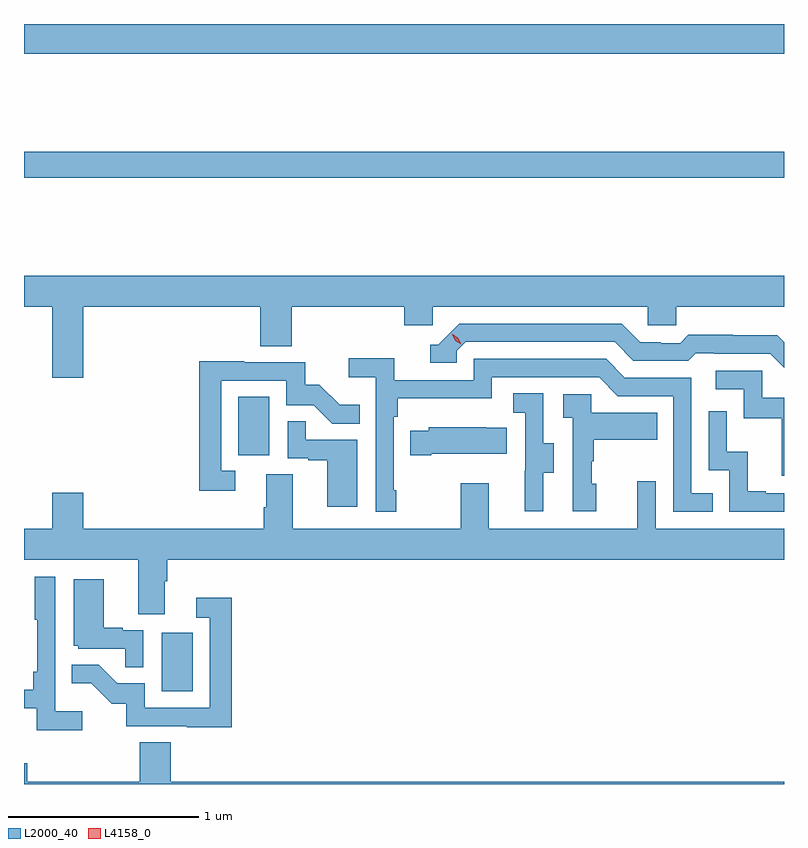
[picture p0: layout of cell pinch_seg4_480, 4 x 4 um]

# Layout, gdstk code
import gdstk
lib = gdstk.Library(unit=1e-6, precision=1e-09)
def R(c, l, rs):  # rectangles x0, y0, x1, y1
    for r in rs: c.add(gdstk.rectangle(r[:2], r[2:], *l))
def P(c, l, *ps):  # polygons
    for p in ps: c.add(gdstk.Polygon(p, *l))
L2000_40 = (2000, 40)
L4158_0 = (4158, 0)

pinch_seg4_480 = lib.new_cell('pinch_seg4_480')
R(pinch_seg4_480, L2000_40, [(896.852,752.172,897.016,752.479), (897.254,753.414,897.418,753.721), (896.127,754.876,900.127,755.012), (896.127,755.528,900.127,755.684)])
P(pinch_seg4_480, L2000_40, [(896.44,754.196),(897.371,754.196),(897.371,753.988),(897.536,753.988),(897.536,754.196),(898.127,754.196),(898.127,754.098),(898.278,754.098),(898.278,754.196),(899.409,754.196),(899.409,754.098),(899.559,754.098),(899.559,754.196),(900.127,754.196),(900.127,754.36),(896.127,754.36),(896.127,754.196),(896.276,754.196),(896.276,753.822),(896.44,753.822)],
  [(900.127,754.01),(900.092,754.045),(899.856,754.045),(899.856,754.048),(899.623,754.048),(899.581,754.005),(899.478,754.005),(899.478,754.008),(899.371,754.008),(899.272,754.107),(898.419,754.107),(898.308,753.996),(898.265,753.996),(898.265,753.9),(898.404,753.9),(898.404,753.963),(898.452,754.011),(899.235,754.011),(899.334,753.912),(899.623,753.912),(899.662,753.951),(899.761,753.951),(899.761,753.948),(900.054,753.948),(900.127,753.875)],
  [(898.087,753.229),(898.074,753.229),(898.074,753.617),(898.094,753.617),(898.094,753.713),(898.59,753.713),(898.59,753.825),(899.154,753.825),(899.253,753.726),(899.544,753.726),(899.544,753.117),(899.753,753.117),(899.753,753.213),(899.64,753.213),(899.64,753.822),(899.29,753.822),(899.191,753.921),(898.494,753.921),(898.494,753.81),(898.076,753.81),(898.076,753.926),(897.837,753.926),(897.837,753.824),(897.978,753.824),(897.978,753.117),(898.087,753.117)],
  [(897.238,753.333),(897.165,753.333),(897.165,753.807),(897.507,753.807),(897.507,753.678),(897.651,753.678),(897.749,753.58),(897.893,753.58),(897.893,753.679),(897.789,753.679),(897.682,753.786),(897.606,753.786),(897.606,753.903),(897.287,753.903),(897.287,753.908),(897.049,753.908),(897.049,753.228),(897.238,753.228)],
  [(900.127,753.717),(900.012,753.717),(900.012,753.858),(899.769,753.858),(899.769,753.762),(899.916,753.762),(899.916,753.609),(900.115,753.609),(900.115,753.306),(900.127,753.306)],
  [(898.861,753.322),(898.915,753.322),(898.915,753.477),(898.86,753.477),(898.86,753.74),(898.701,753.74),(898.701,753.637),(898.764,753.637),(898.764,753.333),(898.763,753.333),(898.763,753.12),(898.861,753.12)],
  [(899.14,753.264),(899.115,753.264),(899.115,753.383),(899.125,753.383),(899.125,753.497),(899.459,753.497),(899.459,753.637),(899.112,753.637),(899.112,753.735),(898.965,753.735),(898.965,753.611),(899.016,753.611),(899.016,753.12),(899.14,753.12)],
  [(900.127,753.213),(900.031,753.213),(900.031,753.226),(899.936,753.226),(899.936,753.434),(899.826,753.434),(899.826,753.646),(899.73,753.646),(899.73,753.336),(899.838,753.336),(899.838,753.117),(900.127,753.117)],
  [(897.88,753.495),(897.611,753.495),(897.611,753.593),(897.516,753.593),(897.516,753.399),(897.623,753.399),(897.623,753.387),(897.722,753.387),(897.722,753.144),(897.88,753.144)],
  [(898.27,753.422),(898.667,753.422),(898.667,753.559),(898.559,753.559),(898.559,753.562),(898.257,753.562),(898.257,753.544),(898.159,753.544),(898.159,753.415),(898.27,753.415)],
  [(896.869,752.752),(896.882,752.752),(896.882,752.864),(900.127,752.864),(900.127,753.028),(899.451,753.028),(899.451,753.277),(899.354,753.277),(899.354,753.028),(898.573,753.028),(898.573,753.268),(898.426,753.268),(898.426,753.028),(897.541,753.028),(897.541,753.314),(897.401,753.314),(897.401,753.14),(897.389,753.14),(897.389,753.028),(896.44,753.028),(896.44,753.217),(896.276,753.217),(896.276,753.028),(896.127,753.028),(896.127,752.864),(896.729,752.864),(896.729,752.578),(896.869,752.578)],
  [(896.434,752.068),(896.292,752.068),(896.292,752.776),(896.184,752.776),(896.184,752.548),(896.196,752.548),(896.196,752.275),(896.176,752.275),(896.176,752.179),(896.127,752.179),(896.127,752.082),(896.195,752.082),(896.195,751.966),(896.434,751.966)],
  [(896.754,752.493),(896.648,752.493),(896.648,752.506),(896.548,752.506),(896.548,752.761),(896.39,752.761),(896.39,752.412),(896.412,752.412),(896.412,752.397),(896.659,752.397),(896.659,752.299),(896.754,752.299)],
  [(897.221,752.665),(897.033,752.665),(897.033,752.559),(897.105,752.559),(897.105,752.085),(896.763,752.085),(896.763,752.214),(896.619,752.214),(896.521,752.312),(896.377,752.312),(896.377,752.213),(896.481,752.213),(896.588,752.106),(896.665,752.106),(896.665,751.989),(896.983,751.989),(896.983,751.984),(897.221,751.984)],
  [(900.127,751.696),(896.9,751.696),(896.9,751.904),(896.735,751.904),(896.735,751.696),(896.144,751.696),(896.144,751.794),(896.127,751.794),(896.127,751.684),(900.127,751.684)])
P(pinch_seg4_480, L4158_0, [(898.429,753.998),(898.398,754.018),(898.382,754.05),(898.382,754.05),(898.383,754.05),(898.413,754.031),(898.429,753.998),(898.429,753.998)])

lib.write_gds('pinch_seg4_480.gds')
